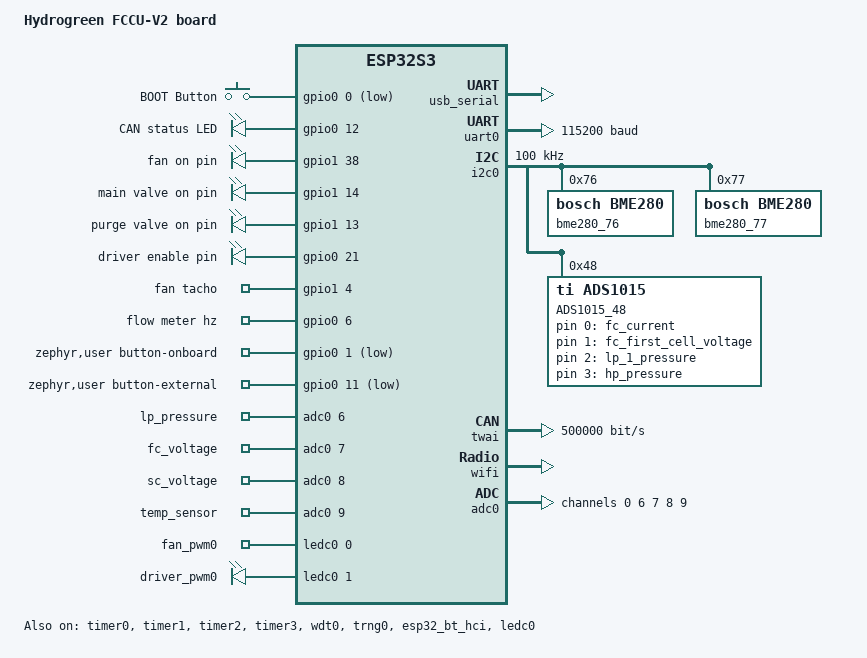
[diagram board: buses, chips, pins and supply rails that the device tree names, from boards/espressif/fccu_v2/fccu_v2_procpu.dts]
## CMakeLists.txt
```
cmake_minimum_required(VERSION 3.20.0)

list(APPEND BOARD_ROOT ${CMAKE_CURRENT_SOURCE_DIR})

find_package(Zephyr REQUIRED HINTS $ENV{ZEPHYR_BASE})

project(Inzynierka)

# Pliki źródłowe (.c), które będą kompilowane do pamięci procesora
target_include_directories(app PRIVATE
        src
        src/core
        src/bsp
        src/comm
)

target_sources(app PRIVATE
        src/main.c
        src/core/fccu_state.c
        src/core/fccu_valves.c
        src/core/fccu_fan.c
        src/core/fccu_flow.c
        src/bsp/fccu_actuators.c
        src/bsp/fccu_button.c
        src/bsp/fccu_sensors.c
        src/bsp/fccu_storage.c
        src/bsp/system_status.c
        src/bsp/fccu_watchdog.c
        src/comm/fccu_can.c
        src/comm/dbc/hydrogreen_can_definitions.c

)

# Rygorystyczna kontrola jakości kodu aplikacji
target_compile_options(app PRIVATE -Wall -Wextra -Werror)

# Wyłączenie -Werror dla kodu generowanego automatycznie z DBC
set_source_files_properties(
        src/comm/dbc/hydrogreen_can_definitions.c
        PROPERTIES COMPILE_OPTIONS "-Wno-error"
)
```

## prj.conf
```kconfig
# --- KONSOLA I LOGOWANIE ---
CONFIG_SERIAL=y
CONFIG_CONSOLE=y
CONFIG_UART_CONSOLE=y
CONFIG_LOG=y

# --- OBSŁUGA UART/USB DLA ESP32 ---
# CONFIG_UART_ESP32=y
# CONFIG_UART_INTERRUPT_DRIVEN=y

# --- KOMUNIKACJA ---
CONFIG_CAN=y
CONFIG_I2C=y
CONFIG_CAN_MANUAL_RECOVERY_MODE=y

# --- PERYFERIA SPRZĘTOWE ---
CONFIG_GPIO=y
CONFIG_PWM=y
CONFIG_ADC=y

# --- CZUJNIKI ---
CONFIG_SENSOR=y
CONFIG_BME280=y

# --- BEZPIECZEŃSTWO ---
CONFIG_WATCHDOG=y

# --- PAMIĘĆ NIEULOTNA (FLASH / NVS) ---
CONFIG_FLASH=y
CONFIG_FLASH_PAGE_LAYOUT=y
CONFIG_FLASH_MAP=y
CONFIG_NVS=y
```

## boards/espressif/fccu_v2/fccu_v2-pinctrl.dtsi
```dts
#include <zephyr/dt-bindings/pinctrl/esp-pinctrl-common.h>
#include <dt-bindings/pinctrl/esp32s3-pinctrl.h>
#include <zephyr/dt-bindings/pinctrl/esp32s3-gpio-sigmap.h>

&pinctrl {
	uart0_default: uart0_default {
		group1 {
			pinmux = <UART0_TX_GPIO43>;
			output-high;
		};
		group2 {
			pinmux = <UART0_RX_GPIO44>;
			bias-pull-up;
		};
	};

	uart1_default: uart1_default {
		group1 {
			pinmux = <UART1_TX_GPIO17>;
			output-high;
		};
		group2 {
			pinmux = <UART1_RX_GPIO18>;
			bias-pull-up;
		};
	};

	i2c0_default: i2c0_default {
		group1 {
			pinmux = <I2C0_SDA_GPIO35>,
					 <I2C0_SCL_GPIO34>;
			bias-pull-up;
			drive-open-drain;
			output-high;
		};
	};

	i2c1_default: i2c1_default {
		group1 {
			pinmux = <I2C1_SDA_GPIO4>,
					 <I2C1_SCL_GPIO5>;
			bias-pull-up;
			drive-open-drain;
			output-high;
		};
	};

	i2s0_default: i2s0_default {
		group1 {
			pinmux = <I2S0_MCLK_GPIO4>,
					 <I2S0_O_WS_GPIO5>,
					 <I2S0_O_BCK_GPIO6>,
					 <I2S0_O_SD_GPIO7>,
					 <I2S0_I_WS_GPIO15>,
					 <I2S0_I_BCK_GPIO16>;
			output-enable;
		};
		group2 {
			pinmux = <I2S0_I_SD_GPIO17>;
			input-enable;
		};
	};

	i2s1_default: i2s1_default {
		group1 {
			pinmux = <I2S1_MCLK_GPIO18>,
					 <I2S1_O_WS_GPIO8>,
					 <I2S1_O_BCK_GPIO3>,
					 <I2S1_O_SD_GPIO9>,
					 <I2S1_I_WS_GPIO10>,
					 <I2S1_I_BCK_GPIO11>;
			output-enable;
		};
		group2 {
			pinmux = <I2S1_I_SD_GPIO12>;
			input-enable;
		};
	};

	spim2_default: spim2_default {
		group1 {
			pinmux = <SPIM2_MISO_GPIO13>,
					 <SPIM2_SCLK_GPIO12>,
					 <SPIM2_CSEL_GPIO10>;
		};
		group2 {
			pinmux = <SPIM2_MOSI_GPIO11>;
			output-low;
		};
	};


	twai_default: twai_default {
		group1 {
			//Oryginalne fccu_v2
			pinmux = <TWAI_TX_GPIO39>;

			//esp32s3 super mini
//			pinmux = <TWAI_TX_GPIO4>;
			output-high; //Wymuszenie nadawania (wyjscie)
		};
		group2 {
			//Oryginalne fccu_v2
			pinmux = <TWAI_RX_GPIO40>;

			//esp32s3 super mini
//			pinmux = <TWAI_RX_GPIO5>;
			bias-pull-up; //Podciagniecie do wejscia
		};
	};

	//	mcpwm0_default: mcpwm0_default {
	//		group1 {
	//			pinmux = <MCPWM0_OUT0A_GPIO0>,
	//					 <MCPWM0_OUT0B_GPIO2>,
	//					 <MCPWM0_OUT1A_GPIO4>;
	//			output-enable;
	//		};
	//		group2 {
	//			pinmux = <MCPWM0_CAP0_GPIO5>;
	//		};
	//	};

	ledc0_default: ledc0_default {
		group1 {
			pinmux = <LEDC_CH0_GPIO37>,
					 <LEDC_CH1_GPIO17>,
					 <LEDC_CH2_GPIO4>;
			output-enable;
		};
	};
};
```

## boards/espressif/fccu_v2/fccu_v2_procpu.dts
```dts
/dts-v1/;

#include <espressif/esp32s3/esp32s3_wroom_n8.dtsi>
#include "fccu_v2-pinctrl.dtsi"
#include <espressif/partitions_0x0_amp.dtsi>


/ {
	model = "Hydrogreen FCCU-V2 board";
	compatible = "hydrogreen,fccu_v2";

	aliases {
		i2c-0 = &i2c0;
		watchdog0 = &wdt0;
		//	uart-0 = &uart0;
		can = &twai;
		fan-pin = &fan0;
		fan-pwm = &fan_pwm0;
		fan-tacho = &fan_tacho0;
		main-valve-pin = &main_valve0;
		purge-valve-pin = &purge_valve0;
		adc-1 = &adc0;
		can-status-led = &can_led0;
		counter0 = &counter0;
		counter1 = &counter1;
		counter2 = &counter2;
		counter3 = &counter3;
		driver-enable = &driver_enable0;
		driver-pwm = &driver_pwm0;
		flow-sensor = &flow_meter_0;
	};

	chosen {
		zephyr,sram = &sram1;
		//		zephyr,console = &uart0;
		//		zephyr,shell-uart = &uart0;
		zephyr,console = &usb_serial;
		zephyr,shell-uart = &usb_serial;
		zephyr,flash = &flash0;
		zephyr,code-partition = &slot0_partition;
		zephyr,bt-hci = &esp32_bt_hci;
		zephyr,canbus = &twai;
	};

	buttons {
		compatible = "gpio-keys";

		button0: button_0 {
			gpios = <&gpio0 0 (GPIO_PULL_UP | GPIO_ACTIVE_LOW)>;
			label = "BOOT Button";
		};


	};

	status_leds {
		compatible = "gpio-leds";

		can_led0: can_led_0 {
			gpios = <&gpio0 12 GPIO_ACTIVE_HIGH>; //oryginalny z pliku
			//			gpios = <&gpio1 16 GPIO_ACTIVE_HIGH>; //esp32s3 super mini
			label = "CAN status LED";
		};
	};

	gpio_outputs {
		compatible = "gpio-leds";

		fan0: fan_0 {
			gpios = <&gpio1 38 GPIO_ACTIVE_HIGH>;
			//gpios = <&gpio1 6 GPIO_ACTIVE_HIGH>; /* GPIO38: 38 - 32 = 6 */
			label = "fan on pin";
		};
		main_valve0: main_valve_0 {
			gpios = <&gpio1 14 GPIO_ACTIVE_HIGH>;
			label = "main valve on pin";
		};
		purge_valve0: purge_valve_0 {
			gpios = <&gpio1 13 GPIO_ACTIVE_HIGH>;
			label = "purge valve on pin";
		};
		driver_enable0: driver_enable_0 {
			gpios = <&gpio0 21 GPIO_ACTIVE_HIGH>;
			label = "driver enable pin";
		};
	};

	gpio_inputs {
		compatible = "gpio-keys";

		fan_tacho0: fan_tacho_0 {
			//gpios = <&gpio1 36 GPIO_ACTIVE_HIGH>; //oryginał
			gpios = <&gpio1 4 GPIO_ACTIVE_HIGH>; /* GPIO36: 36 - 32 = 4 */
			label = "fan tacho";
		};

		flow_meter_0: flow_meter_0 {
			gpios = <&gpio0 6 GPIO_ACTIVE_HIGH>; // Pin G6 to GPIO0, nr 6
			label = "flow meter hz";
		};
	};

	zephyr,user {
		/* ADC1: CH6=GPIO7(LP), CH7=GPIO8(FC_V), CH8=GPIO9(SC_V), CH9=GPIO10(TEMP) */
		/* ADS1015: CH0=FC_C, CH1=FC_1V, CH2=LP_1, CH3=HP */
		io-channels = <&adc0 6>, <&adc0 7>, <&adc0 8>, <&adc0 9>,
					  <&ads1015_48 0>, <&ads1015_48 1>, <&ads1015_48 2>, <&ads1015_48 3>;
		io-channel-names = "lp_pressure", "fc_voltage", "sc_voltage", "temp_sensor",
						   "fc_current", "fc_first_cell_voltage", "lp_1_pressure", "hp_pressure";
		button-onboard-gpios  = <&gpio0 1  (GPIO_ACTIVE_LOW | GPIO_PULL_UP)>;
		button-external-gpios = <&gpio0 11 (GPIO_ACTIVE_LOW | GPIO_PULL_UP)>;
	};

	pwm_leds {
		compatible = "pwm-leds";

		fan_pwm0: fan_pwm_0 {
			pwms = <&ledc0 0 40000 0>;
		};
		driver_pwm0: driver_pwm_0 {
			pwms = <&ledc0 1 40000 0>;
		};
	};
};

&usb_serial {
	status = "okay";
};

&uart0 {
	status = "okay";
	current-speed = <115200>;
	pinctrl-0 = <&uart0_default>;
	pinctrl-names = "default";
};

&gpio0 {
	status = "okay";
};

&gpio1 {
	status = "okay";
};

&i2c0 {
	clock-frequency = <I2C_BITRATE_STANDARD>;
	pinctrl-0 = <&i2c0_default>;
	pinctrl-names = "default";
	status = "okay";

	bme280_76: bme280@76 {
		compatible = "bosch,bme280";
		reg = <0x76>;
		status = "okay";
	};

	bme280_77: bme280@77 {
		compatible = "bosch,bme280";
		reg = <0x77>;
		status = "okay";
	};

	ads1015_48: ads1015@48 {
		compatible = "ti,ads1015";
		reg = <0x48>;
		label = "ADS1015_48";
		#io-channel-cells = <1>;
		#address-cells = <1>;
		#size-cells = <0>;
		status = "okay";
	};

	ads1015_49: ads1015@49 {
		compatible = "ti,ads1015";
		reg = <0x49>;
		label = "ADS1015_49";
		#io-channel-cells = <1>;
		#address-cells = <1>;
		#size-cells = <0>;
		status = "disabled";
	};
};

&i2c1 {
	clock-frequency = <I2C_BITRATE_STANDARD>;
	pinctrl-0 = <&i2c1_default>;
	pinctrl-names = "default";
	status = "disabled";
};

&i2s0 {
	pinctrl-0 = <&i2s0_default>;
	pinctrl-names = "default";
	status = "disabled";
};

&i2s1 {
	pinctrl-0 = <&i2s1_default>;
	pinctrl-names = "default";
	status = "disabled";
};

&spi2 {
	status = "disabled";
};

&twai {
	pinctrl-0 = <&twai_default>;
	pinctrl-names = "default";
	bitrate = <500000>;
	status = "okay";
};

&timer0 {
	status = "okay";
	counter0: counter {
		status = "okay";
	};
};

&timer1 {
	status = "okay";
	counter1: counter {
		status = "okay";
	};
};

&timer2 {
	status = "okay";
	counter2: counter {
		status = "okay";
	};
};

&timer3 {
	status = "okay";
	counter3: counter {
		status = "okay";
	};
};

&wdt0 {
	status = "okay";
};

&trng0 {
	status = "okay";
};

&esp32_bt_hci {
	status = "okay";
};

&wifi {
	status = "okay";
};

&adc0 {
	status = "okay";
	unit = <1>;
	#io-channel-cells = <1>;
	#address-cells = <1>;
	#size-cells = <0>;
	channel-count = <10>;

	channel@0 {
		reg = <0>;
		zephyr,gain = "ADC_GAIN_1_4";
		zephyr,reference = "ADC_REF_INTERNAL";
		zephyr,acquisition-time = <ADC_ACQ_TIME_DEFAULT>;
		zephyr,resolution = <12>;
	};

	channel@6 {
		reg = <6>;
		zephyr,gain = "ADC_GAIN_1_4";
		zephyr,reference = "ADC_REF_INTERNAL";
		zephyr,acquisition-time = <ADC_ACQ_TIME_DEFAULT>;
		zephyr,resolution = <12>;
	};
	channel@7 {
		reg = <7>;
		zephyr,gain = "ADC_GAIN_1_4";
		zephyr,reference = "ADC_REF_INTERNAL";
		zephyr,acquisition-time = <ADC_ACQ_TIME_DEFAULT>;
		zephyr,resolution = <12>;
	};
	channel@8 {
		reg = <8>;
		zephyr,gain = "ADC_GAIN_1_4";
		zephyr,reference = "ADC_REF_INTERNAL";
		zephyr,acquisition-time = <ADC_ACQ_TIME_DEFAULT>;
		zephyr,resolution = <12>;
	};
	channel@9 {
		reg = <9>;
		zephyr,gain = "ADC_GAIN_1_4";
		zephyr,reference = "ADC_REF_INTERNAL";
		zephyr,acquisition-time = <ADC_ACQ_TIME_DEFAULT>;
		zephyr,resolution = <12>;
	};
};

&ledc0 {
	status = "okay";
	pinctrl-0 = <&ledc0_default>;
	pinctrl-names = "default";
	#address-cells = <1>;
	#size-cells = <0>;

	channel@0 {
		reg = <0x0>;
		timer = <0>;
	};
	channel@1 {
		reg = <0x1>;
		timer = <1>;
	};
};
```

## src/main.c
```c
#include <zephyr/kernel.h>
#include <zephyr/logging/log.h>

#include "fccu_config.h"
#include "fccu_events.h"

#include "core/fccu_state.h"
#include "core/fccu_valves.h"
#include "core/fccu_fan.h"
#include "core/fccu_flow.h"

#include "bsp/fccu_actuators.h"
#include "bsp/fccu_button.h"
#include "bsp/fccu_sensors.h"
#include "bsp/fccu_watchdog.h"
#include "bsp/system_status.h"
#include "bsp/fccu_storage.h"

#include "comm/fccu_can.h"

LOG_MODULE_REGISTER(fccu_main, LOG_LEVEL_INF);

K_MSGQ_DEFINE(fccu_event_q, sizeof(fccu_event_t), 16, 4);

static fccu_state_ctx_t    state_ctx;
static fccu_valves_ctx_t   valves_ctx;
static fccu_fan_ctx_t      fan_ctx;
static fccu_flow_ctx_t     flow_ctx;
static fccu_sensors_data_t sensors_data;

static uint8_t get_fan_temp_c(void) {
    int16_t temp_x100 =
#if FCCU_USE_FC_TEMP
            sensors_data.fc_temp_x100;
#else
    sensors_data.ambient_temp_x100;
#endif
    return (temp_x100 > 0) ? (uint8_t)(temp_x100 / 100) : 0U;
}

static void save_settings_to_flash(void) {
    fccu_persisted_cfg_t cfg = {
            .fan_mode                   = fan_ctx.mode,
            .fan_manual_on              = fan_ctx.manual_state,
            .fan_manual_duty            = fan_ctx.manual_duty,
            .fan_p_gain                 = fan_ctx.p_gain,
            .fan_i_gain                 = fan_ctx.i_gain,
            .fan_d_gain                 = fan_ctx.d_gain,
            .purge_mode                 = valves_ctx.purge_mode,
            .purge_interval_s           = valves_ctx.purge_interval_s,
            .purge_duration_ms          = valves_ctx.purge_duration_ms,
            .purge_voltage_threshold_mv = valves_ctx.purge_voltage_threshold_mv,
            .purge_voltage_cooldown_s   = valves_ctx.purge_voltage_cooldown_s
    };
    (void)fccu_storage_save(&cfg);
}

static void load_settings_from_flash(void) {
    fccu_persisted_cfg_t cfg;
    if (!fccu_storage_load(&cfg)) {
        return;
    }

    fccu_fan_set_settings(&fan_ctx, cfg.fan_mode, cfg.fan_p_gain, cfg.fan_i_gain, cfg.fan_d_gain);
    fccu_fan_set_manual_duty(&fan_ctx, cfg.fan_manual_on, cfg.fan_manual_duty);
    fccu_fan_resume(&fan_ctx);

    fccu_valves_set_settings(&valves_ctx,
                             cfg.purge_interval_s,
                             cfg.purge_duration_ms,
                             true,
                             cfg.purge_mode,
                             cfg.purge_voltage_threshold_mv,
                             cfg.purge_voltage_cooldown_s);

    LOG_INF("Restored Flash cfg: fan(mode=%u on=%u duty=%u P=%u I=%u D=%u) purge(mode=%u int=%us dur=%ums thr=%umV cd=%us)",
            fan_ctx.mode, fan_ctx.manual_state, fan_ctx.manual_duty,
            fan_ctx.p_gain, fan_ctx.i_gain, fan_ctx.d_gain,
            valves_ctx.purge_mode, valves_ctx.purge_interval_s, valves_ctx.purge_duration_ms,
            valves_ctx.purge_voltage_threshold_mv, valves_ctx.purge_voltage_cooldown_s);
}

static void trigger_purge(uint32_t now_ms) {
    bool is_running = (state_ctx.state == STATE_RUNNING);
    if (fccu_valves_start_purge(&valves_ctx, is_running, now_ms)) {
        /* Nie zerujemy objętości przy purge — zliczamy sumaryczne zużycie od włączenia zasilania */
        fccu_actuators_set_purge_valve(1U);
        fccu_actuators_schedule_purge_close(valves_ctx.purge_duration_ms);
        fccu_can_send_state((uint8_t)state_ctx.state, valves_ctx.main_valve,
                            valves_ctx.purge_valve, fan_ctx.state, fan_ctx.duty);
    }
}

static void handle_event(const fccu_event_t *evt) {
    switch (evt->type) {
        case FCCU_EVT_CAN_SYSTEM_ENABLE:
            fccu_state_set_enable(&state_ctx, evt->data.u8_val, evt->timestamp_ms);
            break;

        case FCCU_EVT_CAN_MAIN_VALVE: {
            fccu_state_notify_can_rx(&state_ctx, evt->timestamp_ms);
            uint8_t prev_main = valves_ctx.main_valve;
            fccu_valves_set_main(&valves_ctx, evt->data.u8_val);
            if (prev_main == 0U && valves_ctx.main_valve == 1U) {
                fccu_valves_sync_purge_timer(&valves_ctx, evt->timestamp_ms);
            }
            if (state_ctx.state == STATE_RUNNING) {
                fccu_actuators_set_main_valve(valves_ctx.main_valve);
                fccu_can_send_state((uint8_t)state_ctx.state, valves_ctx.main_valve,
                                    valves_ctx.purge_valve, fan_ctx.state, fan_ctx.duty);
            }
            break;
        }

        case FCCU_EVT_CAN_MANUAL_PURGE:
            fccu_state_notify_can_rx(&state_ctx, evt->timestamp_ms);
            trigger_purge(evt->timestamp_ms);
            break;

        case FCCU_EVT_CAN_FAN_CMD:
            fccu_state_notify_can_rx(&state_ctx, evt->timestamp_ms);
            fccu_fan_set_manual_duty(&fan_ctx, evt->data.fan_cmd.on, evt->data.fan_cmd.duty);
            save_settings_to_flash();
            if (state_ctx.state == STATE_RUNNING) {
                fccu_actuators_set_fan_duty(fan_ctx.duty);
                fccu_can_send_state((uint8_t)state_ctx.state, valves_ctx.main_valve,
                                    valves_ctx.purge_valve, fan_ctx.state, fan_ctx.duty);
            }
            break;

        case FCCU_EVT_CAN_FAN_SETTINGS:
            fccu_state_notify_can_rx(&state_ctx, evt->timestamp_ms);
            fccu_fan_set_settings(&fan_ctx,
                                  evt->data.fan_settings.mode,
                                  evt->data.fan_settings.p_gain,
                                  evt->data.fan_settings.i_gain,
                                  evt->data.fan_settings.d_gain);
            save_settings_to_flash();
            if (state_ctx.state == STATE_RUNNING) {
                fccu_actuators_set_fan_duty(fan_ctx.duty);
                fccu_can_send_state((uint8_t)state_ctx.state, valves_ctx.main_valve,
                                    valves_ctx.purge_valve, fan_ctx.state, fan_ctx.duty);
            }
            break;

        case FCCU_EVT_CAN_VALVE_SETTINGS:
            fccu_state_notify_can_rx(&state_ctx, evt->timestamp_ms);
            fccu_valves_set_settings(&valves_ctx,
                                     evt->data.valve_settings.interval_s,
                                     evt->data.valve_settings.duration_ms,
                                     (evt->data.valve_settings.has_voltage_cfg != 0U),
                                     evt->data.valve_settings.mode,
                                     evt->data.valve_settings.voltage_threshold_mv,
                                     evt->data.valve_settings.voltage_cooldown_s);
            save_settings_to_flash();
            break;

        case FCCU_EVT_BTN_SINGLE_CLICK:
            if (state_ctx.state == STATE_RUNNING) {
                uint8_t prev_main = valves_ctx.main_valve;
                fccu_valves_toggle_main(&valves_ctx);
                if (prev_main == 0U && valves_ctx.main_valve == 1U) {
                    fccu_valves_sync_purge_timer(&valves_ctx, evt->timestamp_ms);
                }
                fccu_actuators_set_main_valve(valves_ctx.main_valve);
                fccu_can_send_state((uint8_t)state_ctx.state, valves_ctx.main_valve,
                                    valves_ctx.purge_valve, fan_ctx.state, fan_ctx.duty);
            }
            break;

        case FCCU_EVT_BTN_DOUBLE_CLICK:
            trigger_purge(evt->timestamp_ms);
            break;

        case FCCU_EVT_PURGE_TIMEOUT:
            fccu_valves_close_purge(&valves_ctx);
            fccu_actuators_set_purge_valve(0U);
            fccu_can_send_state((uint8_t)state_ctx.state, valves_ctx.main_valve,
                                valves_ctx.purge_valve, fan_ctx.state, fan_ctx.duty);
            break;
    }
}

static void flow_fast_thread_fn(void *p1, void *p2, void *p3) {
    ARG_UNUSED(p1);
    ARG_UNUSED(p2);
    ARG_UNUSED(p3);

    while (1) {
        fccu_flow_snapshot_t snap;
        fccu_sensors_get_flow_snapshot(&snap);
        uint32_t flow_x1000 = fccu_flow_calc_x1000_from_period_us(snap.effective_period_us);
        fccu_can_send_flow_fast(flow_x1000);
        k_sleep(K_MSEC(FCCU_FLOW_FAST_PERIOD_MS));
    }
}

K_THREAD_DEFINE(flow_fast_tid, 1024, flow_fast_thread_fn, NULL, NULL, NULL, 6, 0, 100);

int main(void) {
    init_system_status();
    fccu_state_init(&state_ctx);
    fccu_valves_init(&valves_ctx);
    fccu_fan_init(&fan_ctx);
    fccu_flow_init(&flow_ctx);

    if (fccu_actuators_init() != 0 ||
        fccu_button_init() != 0 ||
        fccu_sensors_init() != 0 ||
        fccu_can_init() != 0 ||
        fccu_watchdog_init() != 0) {
        LOG_ERR("Hardware init failed! Entering safe halt.");
        fccu_actuators_emergency_stop();
        return -1;
    }

    if (fccu_storage_init() == 0) {
        load_settings_from_flash();
    }

    fccu_sensors_read_all(&sensors_data);
    uint32_t boot_ms = k_uptime_get_32();
    fccu_state_t boot_state = fccu_state_step(&state_ctx, boot_ms);

    if (boot_state == STATE_RUNNING) {
        fccu_valves_sync_purge_timer(&valves_ctx, boot_ms);
        fccu_fan_resume(&fan_ctx);
        fccu_fan_step(&fan_ctx, true, get_fan_temp_c());
        fccu_actuators_set_fan_duty(fan_ctx.duty);
    } else {
        fccu_actuators_emergency_stop();
    }

    fccu_can_send_state((uint8_t)boot_state, valves_ctx.main_valve,
                        valves_ctx.purge_valve, fan_ctx.state, fan_ctx.duty);

    LOG_INF("FCCU started in state=%u (fan duty=%u%%)", (unsigned int)boot_state, fan_ctx.duty);

    uint32_t last_1s_tick_ms = boot_ms;
    fccu_state_t prev_state = boot_state;
    fccu_event_t evt;

    while (1) {
        fccu_watchdog_feed();

        if (k_msgq_get(&fccu_event_q, &evt, K_MSEC(50)) == 0) {
            handle_event(&evt);
        }

        uint32_t now_ms = k_uptime_get_32();
        fccu_state_t curr_state = fccu_state_step(&state_ctx, now_ms);

        /* 1. Reakcja na zmianę stanu */
        if (prev_state != curr_state) {
            if (curr_state == STATE_RUNNING) {
                fccu_valves_sync_purge_timer(&valves_ctx, now_ms);
                fccu_fan_resume(&fan_ctx);
                fccu_fan_step(&fan_ctx, true, get_fan_temp_c());
                fccu_actuators_set_fan_duty(fan_ctx.duty);
            } else {
                fccu_valves_reset_outputs(&valves_ctx);
                fccu_fan_stop(&fan_ctx);
                fccu_actuators_emergency_stop();
            }
            fccu_can_send_state((uint8_t)curr_state, valves_ctx.main_valve,
                                valves_ctx.purge_valve, fan_ctx.state, fan_ctx.duty);
            prev_state = curr_state;
        }

        /* 2. Wykonanie wyjść zależnie od stanu */
        if (curr_state == STATE_STOPPED || curr_state == STATE_INIT) {
            fccu_valves_reset_outputs(&valves_ctx);
            fccu_fan_stop(&fan_ctx);
            fccu_actuators_emergency_stop();
        } else if (curr_state == STATE_RUNNING) {
            fccu_actuators_set_main_valve(valves_ctx.main_valve);

            int32_t mcu_fc_v_mv = 0;
            bool mcu_fc_v_valid = fccu_can_get_mcu_fc_voltage_mv(&mcu_fc_v_mv, now_ms);

            if (fccu_valves_check_auto_purge(&valves_ctx, true, now_ms, mcu_fc_v_valid, mcu_fc_v_mv)) {
                fccu_actuators_set_purge_valve(1U);
                fccu_actuators_schedule_purge_close(valves_ctx.purge_duration_ms);
                fccu_can_send_state((uint8_t)curr_state, valves_ctx.main_valve,
                                    valves_ctx.purge_valve, fan_ctx.state, fan_ctx.duty);
            }

            fccu_fan_step(&fan_ctx, true, get_fan_temp_c());
            fccu_actuators_set_fan_duty(fan_ctx.duty);
        }

        /* 3. Zadania okresowe co 1 s (czujniki + przepływ + telemetria CAN) */
        if ((now_ms - last_1s_tick_ms) >= 1000U) {
            last_1s_tick_ms = now_ms;

            fccu_sensors_read_all(&sensors_data);

#if FCCU_USE_FC_TEMP
            LOG_INF("FC temp: %d mV -> %d.%02d C",
                    sensors_data.fc_temp_mv,
                    sensors_data.fc_temp_x100 / 100,
                    (sensors_data.fc_temp_x100 < 0 ? -sensors_data.fc_temp_x100 : sensors_data.fc_temp_x100) % 100);
#endif

            fccu_flow_snapshot_t flow_snap;
            fccu_sensors_get_flow_snapshot(&flow_snap);
            fccu_flow_update_fast(&flow_ctx, flow_snap.effective_period_us, flow_snap.total_pulses);

            fccu_telemetry_t tel = {
                    .state                 = curr_state,
                    .main_valve            = valves_ctx.main_valve,
                    .purge_valve           = valves_ctx.purge_valve,
                    .fan_state             = fan_ctx.state,
                    .fan_duty              = fan_ctx.duty,
                    .total_volume_x1000    = flow_ctx.total_volume_x1000,
                    .lp_pressure_x100      = (sensors_data.lp_pressure_mv > 0) ? (uint16_t)sensors_data.lp_pressure_mv : 0U,
                    .hp_pressure_x100      = (sensors_data.hp_pressure_mv > 0) ? (uint16_t)sensors_data.hp_pressure_mv : 0U,
                    .fc_voltage_x100       = (int16_t)sensors_data.fc_voltage_mv,
                    .fc_current_x100       = (int16_t)sensors_data.fc_current_mv,
                    .fc_temp_x100          = sensors_data.fc_temp_x100,
                    .ambient_temp_x100     = sensors_data.ambient_temp_x100,
                    .ambient_humidity_x100 = sensors_data.ambient_humidity_x100,
                    .ambient_pressure_x100 = sensors_data.ambient_pressure_x100
            };
            fccu_can_send_telemetry(&tel);
        }
    }

    return 0;
}
```

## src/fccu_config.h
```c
#ifndef INZYNIERKA_FCCU_CONFIG_H
#define INZYNIERKA_FCCU_CONFIG_H

/* --- ZAWÓR PURGE (Anti-Idiot & domyślne wartości) --- */
#define FCCU_PURGE_DURATION_DEFAULT_MS          100U
#define FCCU_PURGE_DURATION_MIN_MS              10U
#define FCCU_PURGE_DURATION_MAX_MS              500U
#define FCCU_PURGE_VOLTAGE_DEFAULT_MV           20000U /* Domyślny próg: 20.0 V */
#define FCCU_PURGE_VOLTAGE_MIN_VALID_MV         5000   /* Poniżej 5.0 V ogniwo uznajemy za wyłączone (brak fałszywych purge) */
#define FCCU_PURGE_VOLTAGE_COOLDOWN_DEFAULT_S   5U     /* Min. odstęp między przedmuchami od napięcia [s] */
#define FCCU_MCU_VOLTAGE_TIMEOUT_MS             2000U  /* Maks. wiek ramki 0x104 z MCU [ms] */

/* --- CHŁODZENIE (Wentylator: Linear & PID) --- */
#define FCCU_FAN_DUTY_MIN_PCT           0U
#define FCCU_FAN_DUTY_MAX_PCT           100U
#define FCCU_FAN_LINEAR_ON_TEMP_C       35U
#define FCCU_FAN_LINEAR_OFF_TEMP_C      30U
#define FCCU_FAN_PID_SETPOINT_C         30

/* --- PRZEPŁYWOMIERZ --- */
#define FCCU_FLOW_K_FACTOR              1000U /* Impulsy na 1 Ln (1 impuls = 0.001 Ln) */
#define FCCU_FLOW_SCALE_X100            6000U /* (60 s/min * 100 dla skali 0.01) */
#define FCCU_FLOW_DEBOUNCE_US           1000U /* 1 ms -> maks. 1000 Hz (60 Ln/min) */
#define FCCU_FLOW_TIMEOUT_MS            1500U /* Po 1.5 s bez impulsu przepływ = 0 */
#define FCCU_FLOW_FAST_PERIOD_MS        10U   /* 10 ms = 100 Hz (1U = 1000 Hz) */

/* --- BEZPIECZEŃSTWO (Fail-Safe) --- */
/* Maksymalny czas bez ramki CAN z nadrzędnego sterownika przed awaryjnym STOP */
#define FCCU_CAN_TIMEOUT_MS             3000U
#define FCCU_WDT_TIMEOUT_MS             2000U

/* --- PRZYCISK --- */
#define FCCU_BUTTON_DEBOUNCE_MS         25U
#define FCCU_BUTTON_DOUBLE_CLICK_MS     400U

/* --- PRZELICZNIKI DZIELNIKÓW NAPIĘCIA (ze schematu FCCU v2) --- */
/* Dzielnik 10k / 15k -> V_in = V_adc * 5 / 3 */
#define FCCU_DIV_10K_15K_NUM            5
#define FCCU_DIV_10K_15K_DEN            3

/* Dzielnik FC_V / SC_V (R=6k8, RV=2k, R=3k3 -> środek potencjometru: 12.1k / 4.3k)
 * Po ustawieniu potencjometrów RV5 / RV4 zmierz napięcie multimetrem i skoryguj mianownik. */
#define FCCU_DIV_FC_V_NUM               121
#define FCCU_DIV_FC_V_DEN               43

/* --- PARAMETRY CZUJNIKÓW (uzupełnij z not katalogowych czujników) --- */
/* Zakresy wejściowe po odtworzeniu napięcia 0..5000 mV -> wartość fizyczna * 100 (skala DBC 0.01) */
#define FCCU_LP_MV_MIN                  500     /* np. 0.5 V = 0 bar */
#define FCCU_LP_MV_MAX                  4500    /* np. 4.5 V = max bar */
#define FCCU_LP_MAX_BAR_X100            1000    /* 10.00 bar (max w DBC) */

#define FCCU_HP_MV_MIN                  500
#define FCCU_HP_MV_MAX                  4500
#define FCCU_HP_MAX_BAR_X100            35000   /* 350.00 bar */

#define FCCU_FC_C_ZERO_MV               2500    /* np. 2.5 V dla 0 A */
#define FCCU_FC_C_SENS_MV_PER_A         100     /* np. 100 mV / A */

//temperaturaaaa jest pijana no i buja sie po klubach
#define FCCU_USE_BME280                 1

/* 0 = tylko flow_meter, fan, main_valve, purge_valve | 1 = pełne ADC + BME280 */
#define FCCU_USE_EXTRA_SENSORS          0

/* --- TERMISTOR OGNIWA (J7 T_R -> IC2 -> GPIO10 / ADC1_CH9) --- */
#define FCCU_USE_FC_TEMP                1
#define FCCU_FC_TEMP_TYPE_PT1000        0      /* 0 = NTC 1k, 1 = Pt1000 */
#define FCCU_FC_TEMP_VCC_MV             3300   /* Zasilanie dzielnika R58 (+3.3V) */
#define FCCU_FC_TEMP_PULLUP_OHM         10000  /* R58 = 10k */
#define FCCU_FC_TEMP_OPAMP_GAIN_NUM     1      /* 1 = wtórnik; jeśli wzmacniacz 11x -> wpisz 11 */
#define FCCU_FC_TEMP_OPAMP_GAIN_DEN     1
#define FCCU_FC_TEMP_R25_OHM            1000   /* Rezystancja czujnika w 25 degC (1k) */
#define FCCU_FC_TEMP_NTC_BETA_K         3950   /* Stała Beta NTC (zmień wg noty termistora) */

/* --- MASZYNA STANÓW --- */
/* 1 = start w STATE_INIT i natychmiastowe przejście do STATE_RUNNING (bez stacyjki)
 * 0 = oczekiwanie w STATE_INIT na sygnał stacyjki / ramkę CAN 0x510=1 */
#define FCCU_AUTO_START_FROM_INIT       1

#endif //INZYNIERKA_FCCU_CONFIG_H
```

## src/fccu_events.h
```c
#ifndef INZYNIERKA_FCCU_EVENTS_H
#define INZYNIERKA_FCCU_EVENTS_H

#include <zephyr/kernel.h>
#include <stdint.h>

typedef enum {
    FCCU_EVT_CAN_SYSTEM_ENABLE,
    FCCU_EVT_CAN_MAIN_VALVE,
    FCCU_EVT_CAN_MANUAL_PURGE,
    FCCU_EVT_CAN_FAN_CMD,
    FCCU_EVT_CAN_FAN_SETTINGS,
    FCCU_EVT_CAN_VALVE_SETTINGS,
    FCCU_EVT_BTN_SINGLE_CLICK,
    FCCU_EVT_BTN_DOUBLE_CLICK,
    FCCU_EVT_PURGE_TIMEOUT
} fccu_event_type_t;

typedef struct {
    fccu_event_type_t type;
    uint32_t          timestamp_ms;
    union {
        uint8_t u8_val;
        struct {
            uint8_t on;
            uint8_t duty;
        } fan_cmd;
        struct {
            uint8_t  mode;
            uint16_t p_gain;
            uint16_t i_gain;
            uint16_t d_gain;
        } fan_settings;
        struct {
            uint16_t interval_s;
            uint16_t duration_ms;
            uint8_t  has_voltage_cfg;
            uint8_t  mode;
            uint16_t voltage_threshold_mv;
            uint8_t  voltage_cooldown_s;
        } valve_settings;
    } data;
} fccu_event_t;

/* Globalna kolejka zdarzeń zdefiniowana w main.c */
extern struct k_msgq fccu_event_q;

static inline int fccu_event_post(const fccu_event_t *evt) {
    /* K_NO_WAIT pozwala bezpiecznie wołać tę funkcję także z ISR */
    return k_msgq_put(&fccu_event_q, evt, K_NO_WAIT);
}

#endif //INZYNIERKA_FCCU_EVENTS_H
```
